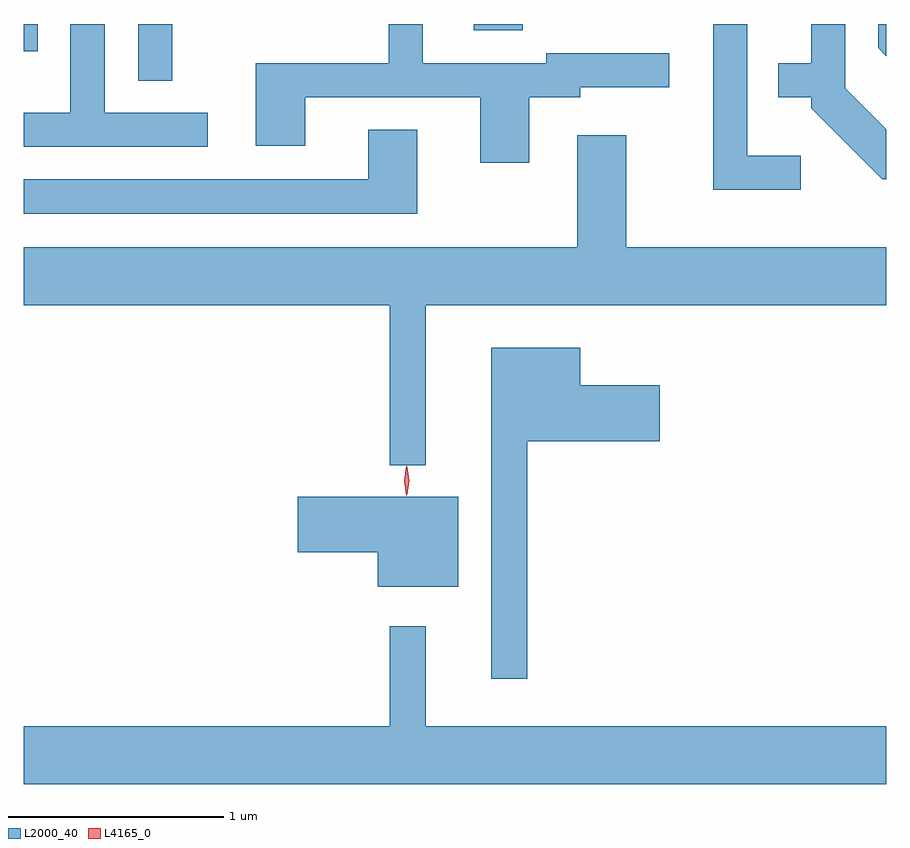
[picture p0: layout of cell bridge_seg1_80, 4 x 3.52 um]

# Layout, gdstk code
import gdstk
lib = gdstk.Library(unit=1e-6, precision=1e-09)
def R(c, l, rs):  # rectangles x0, y0, x1, y1
    for r in rs: c.add(gdstk.rectangle(r[:2], r[2:], *l))
def P(c, l, *ps):  # polygons
    for p in ps: c.add(gdstk.Polygon(p, *l))
L2000_40 = (2000, 40)
L4165_0 = (4165, 0)

bridge_seg1_80 = lib.new_cell('bridge_seg1_80')
R(bridge_seg1_80, L2000_40, [(1245.006,871.758,1245.164,872.02), (1244.474,871.893,1244.539,872.02), (1246.561,871.991,1246.789,872.02)])
P(bridge_seg1_80, L2000_40, [(1248.474,871.532),(1248.284,871.722),(1248.284,872.02),(1248.126,872.02),(1248.126,871.839),(1247.973,871.839),(1247.973,871.681),(1248.126,871.681),(1248.126,871.629),(1248.454,871.301),(1248.474,871.301)],
  [(1246.819,871.681),(1247.054,871.681),(1247.054,871.726),(1247.468,871.726),(1247.468,871.884),(1246.896,871.884),(1246.896,871.839),(1246.324,871.839),(1246.324,872.02),(1246.166,872.02),(1246.166,871.839),(1245.551,871.839),(1245.551,871.456),(1245.779,871.456),(1245.779,871.681),(1246.591,871.681),(1246.591,871.376),(1246.819,871.376)],
  [(1248.474,872.02),(1248.436,872.02),(1248.436,871.909),(1248.474,871.871)],
  [(1245.328,871.609),(1244.849,871.609),(1244.849,872.02),(1244.691,872.02),(1244.691,871.609),(1244.474,871.609),(1244.474,871.451),(1245.328,871.451)],
  [(1248.078,871.409),(1247.829,871.409),(1247.829,872.02),(1247.671,872.02),(1247.671,871.251),(1248.078,871.251)],
  [(1246.299,871.529),(1246.071,871.529),(1246.071,871.299),(1244.474,871.299),(1244.474,871.141),(1246.299,871.141)],
  [(1246.339,870.716),(1248.474,870.716),(1248.474,870.984),(1247.269,870.984),(1247.269,871.504),(1247.041,871.504),(1247.041,870.984),(1244.474,870.984),(1244.474,870.716),(1246.171,870.716),(1246.171,869.973),(1246.339,869.973)],
  [(1246.809,870.086),(1247.424,870.086),(1247.424,870.344),(1247.054,870.344),(1247.054,870.519),(1246.641,870.519),(1246.641,868.983),(1246.809,868.983)],
  [(1246.489,869.829),(1245.746,869.829),(1245.746,869.571),(1246.116,869.571),(1246.116,869.411),(1246.489,869.411)],
  [(1248.474,868.764),(1246.339,868.764),(1246.339,869.228),(1246.171,869.228),(1246.171,868.764),(1244.474,868.764),(1244.474,868.496),(1248.474,868.496)])
P(bridge_seg1_80, L4165_0, [(1246.248,869.834),(1246.239,869.902),(1246.248,869.97),(1246.249,869.97),(1246.25,869.97),(1246.259,869.902),(1246.25,869.834),(1246.249,869.834)],
  [(1246.252,869.84),(1246.252,869.84),(1246.242,869.903),(1246.252,869.966),(1246.252,869.967),(1246.252,869.966),(1246.262,869.903),(1246.252,869.84)])

lib.write_gds('bridge_seg1_80.gds')
